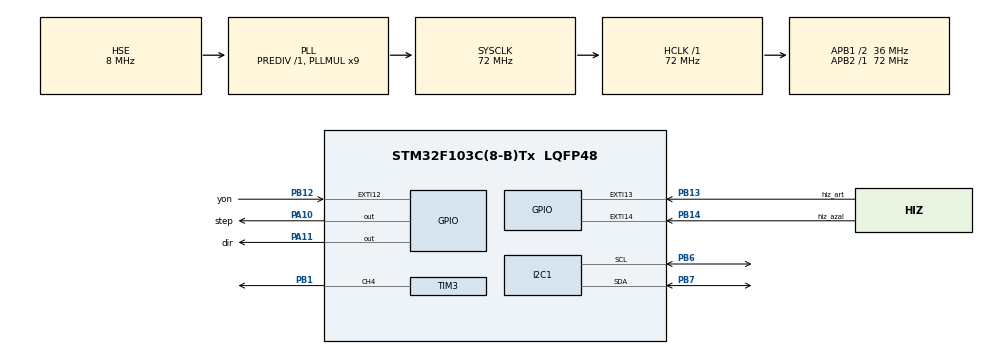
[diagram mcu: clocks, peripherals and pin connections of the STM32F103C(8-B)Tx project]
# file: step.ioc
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I2C1.I2C_Mode=I2C_Fast
Mcu.Family=STM32F1
Mcu.Name=STM32F103C(8-B)Tx
Mcu.Package=LQFP48
NVIC.EXTI15_10_IRQn=true\:0\:0\:false\:false\:true\:true\:true
NVIC.PriorityGroup=NVIC_PRIORITYGROUP_4
PA10.GPIO_Label=step
PA10.Signal=GPIO_Output
PA11.GPIO_Label=dir
PA11.Signal=GPIO_Output
PA13.Mode=Serial_Wire
PA13.Signal=SYS_JTMS-SWDIO
PA14.Mode=Serial_Wire
PA14.Signal=SYS_JTCK-SWCLK
PB1.Signal=S_TIM3_CH4
PB12.GPIO_Label=yon
PB12.GPIO_ModeDefaultEXTI=GPIO_MODE_IT_FALLING
PB12.GPIO_PuPd=GPIO_PULLUP
PB12.Signal=GPXTI12
PB13.GPIO_Label=hiz_art
PB13.GPIO_ModeDefaultEXTI=GPIO_MODE_IT_FALLING
PB13.GPIO_PuPd=GPIO_PULLUP
PB13.Signal=GPXTI13
PB14.GPIO_Label=hiz_azal
PB14.GPIO_ModeDefaultEXTI=GPIO_MODE_IT_FALLING
PB14.GPIO_PuPd=GPIO_PULLUP
PB14.Signal=GPXTI14
PB6.Mode=I2C
PB6.Signal=I2C1_SCL
PB7.Mode=I2C
PB7.Signal=I2C1_SDA
PD0-OSC_IN.Mode=HSE-External-Oscillator
PD0-OSC_IN.Signal=RCC_OSC_IN
PD1-OSC_OUT.Mode=HSE-External-Oscillator
PD1-OSC_OUT.Signal=RCC_OSC_OUT
ProjectManager.HeapSize=0x200
ProjectManager.StackSize=0x400
ProjectManager.TargetToolchain=MDK-ARM V5
RCC.AHBFreq_Value=72000000
RCC.APB1CLKDivider=RCC_HCLK_DIV2
RCC.APB1Freq_Value=36000000
RCC.APB1TimFreq_Value=72000000
RCC.APB2Freq_Value=72000000
RCC.APB2TimFreq_Value=72000000
RCC.HCLKFreq_Value=72000000
RCC.PLLMUL=RCC_PLL_MUL9
RCC.PLLSourceVirtual=RCC_PLLSOURCE_HSE
RCC.SYSCLKFreq_VALUE=72000000
RCC.SYSCLKSource=RCC_SYSCLKSOURCE_PLLCLK
RCC.USBFreq_Value=72000000
SH.S_TIM3_CH4.0=TIM3_CH4,PWM Generation4 CH4
TIM3.Channel-PWM\ Generation4\ CH4=TIM_CHANNEL_4
TIM3.Period=25
TIM3.Prescaler=7200-1
VP_TIM3_VS_ClockSourceINT.Mode=Internal
board=custom

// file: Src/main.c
/* USER CODE BEGIN Header */
/**
  ******************************************************************************
  * @file           : main.c
  * @brief          : Main program body
  ******************************************************************************
  * @attention
  *
  * <h2><center>&copy; Copyright (c) 2019 STMicroelectronics.
  * All rights reserved.</center></h2>
  *
  * This software component is licensed by ST under BSD 3-Clause license,
  * the "License"; You may not use this file except in compliance with the
  * License. You may obtain a copy of the License at:
  *                        opensource.org/licenses/BSD-3-Clause
  *
  ******************************************************************************
  */
/* USER CODE END Header */

#include "main.h"
#include "ssd1306.h"
#include "i2c-lcd.h"
#include "string.h"

/* USER CODE BEGIN Includes */
#include "main.h"
#include "ssd1306.h"
#include "i2c-lcd.h"
#include "string.h"
/* USER CODE END Includes */

/* USER CODE BEGIN PTD */
uint8_t check;
int dirata=0;
char buffer[32];
int step_hiz=500;
float ibre;
uint8_t value = 0;
/* USER CODE END PTD */

I2C_HandleTypeDef hi2c1;

TIM_HandleTypeDef htim3;

void SystemClock_Config(void);
static void MX_GPIO_Init(void);
static void MX_I2C1_Init(void);
static void MX_TIM3_Init(void);

int main(void)
{

  /* MCU Configuration--------------------------------------------------------*/

  /* Reset of all peripherals, Initializes the Flash interface and the Systick. */
  HAL_Init();

  /* Configure the system clock */
  SystemClock_Config();

  /* Initialize all configured peripherals */
  MX_GPIO_Init();
  MX_I2C1_Init();
  MX_TIM3_Init();
  /* USER CODE BEGIN 2 */
	int i;

	lcd_init ();
	check = SSD1306_Init ();
	SSD1306_Fill (0);
	SSD1306_UpdateScreen(); //display
  /* USER CODE END 2 */
HAL_TIM_PWM_Start(&htim3, TIM_CHANNEL_4);
  /* Infinite loop */
  while (1)
  {

SSD1306_Fill (0);
       		HAL_GPIO_TogglePin(GPIOA,step_Pin);
		HAL_Delay(step_hiz);

		dirata=HAL_GPIO_ReadPin(GPIOA,dir_Pin);
switch (dirata)
    {
    	case 0:

	SSD1306_GotoXY (1,11);
	SSD1306_Puts ("Motor Yonu<==Sol", &Font_7x10, 1);

    		break;
    	case 1:

	SSD1306_GotoXY (1,11);
	SSD1306_Puts ("Motor Yonu==>Sag", &Font_7x10, 1);

    		break;
    	default:
    		break;
    }

		htim3.Instance->CCR4 = value;

			value=0;
	SSD1306_DrawRectangle(10,24,101,31,1);
 SSD1306_DrawFilledRectangle(10,24,ibre,30,1);
	SSD1306_GotoXY (45,35);
	SSD1306_Puts ("HIZ", &Font_11x18, 1);
  SSD1306_UpdateScreen();
  }
}

void SystemClock_Config(void)
{
  RCC_OscInitTypeDef RCC_OscInitStruct = {0};
  RCC_ClkInitTypeDef RCC_ClkInitStruct = {0};

  /** Initializes the CPU, AHB and APB busses clocks
  */
  RCC_OscInitStruct.OscillatorType = RCC_OSCILLATORTYPE_HSE;
  RCC_OscInitStruct.HSEState = RCC_HSE_ON;
  RCC_OscInitStruct.HSEPredivValue = RCC_HSE_PREDIV_DIV1;
  RCC_OscInitStruct.HSIState = RCC_HSI_ON;
  RCC_OscInitStruct.PLL.PLLState = RCC_PLL_ON;
  RCC_OscInitStruct.PLL.PLLSource = RCC_PLLSOURCE_HSE;
  RCC_OscInitStruct.PLL.PLLMUL = RCC_PLL_MUL9;
  if (HAL_RCC_OscConfig(&RCC_OscInitStruct) != HAL_OK)
  {
    Error_Handler();
  }
  /** Initializes the CPU, AHB and APB busses clocks
  */
  RCC_ClkInitStruct.ClockType = RCC_CLOCKTYPE_HCLK|RCC_CLOCKTYPE_SYSCLK
                              |RCC_CLOCKTYPE_PCLK1|RCC_CLOCKTYPE_PCLK2;
  RCC_ClkInitStruct.SYSCLKSource = RCC_SYSCLKSOURCE_PLLCLK;
  RCC_ClkInitStruct.AHBCLKDivider = RCC_SYSCLK_DIV1;
  RCC_ClkInitStruct.APB1CLKDivider = RCC_HCLK_DIV2;
  RCC_ClkInitStruct.APB2CLKDivider = RCC_HCLK_DIV1;

  if (HAL_RCC_ClockConfig(&RCC_ClkInitStruct, FLASH_LATENCY_2) != HAL_OK)
  {
    Error_Handler();
  }
}

static void MX_I2C1_Init(void)
{

  hi2c1.Instance = I2C1;
  hi2c1.Init.ClockSpeed = 400000;
  hi2c1.Init.DutyCycle = I2C_DUTYCYCLE_2;
  hi2c1.Init.OwnAddress1 = 0;
  hi2c1.Init.AddressingMode = I2C_ADDRESSINGMODE_7BIT;
  hi2c1.Init.DualAddressMode = I2C_DUALADDRESS_DISABLE;
  hi2c1.Init.OwnAddress2 = 0;
  hi2c1.Init.GeneralCallMode = I2C_GENERALCALL_DISABLE;
  hi2c1.Init.NoStretchMode = I2C_NOSTRETCH_DISABLE;
  if (HAL_I2C_Init(&hi2c1) != HAL_OK)
  {
    Error_Handler();
  }

}

static void MX_TIM3_Init(void)
{

  TIM_ClockConfigTypeDef sClockSourceConfig = {0};
  TIM_MasterConfigTypeDef sMasterConfig = {0};
  TIM_OC_InitTypeDef sConfigOC = {0};

  htim3.Instance = TIM3;
  htim3.Init.Prescaler = 1200-1;
  htim3.Init.CounterMode = TIM_COUNTERMODE_UP;
  htim3.Init.Period = 25-1;
  htim3.Init.ClockDivision = TIM_CLOCKDIVISION_DIV1;
  htim3.Init.AutoReloadPreload = TIM_AUTORELOAD_PRELOAD_DISABLE;
  if (HAL_TIM_Base_Init(&htim3) != HAL_OK)
  {
    Error_Handler();
  }
  sClockSourceConfig.ClockSource = TIM_CLOCKSOURCE_INTERNAL;
  if (HAL_TIM_ConfigClockSource(&htim3, &sClockSourceConfig) != HAL_OK)
  {
    Error_Handler();
  }
  if (HAL_TIM_PWM_Init(&htim3) != HAL_OK)
  {
    Error_Handler();
  }
  sMasterConfig.MasterOutputTrigger = TIM_TRGO_RESET;
  sMasterConfig.MasterSlaveMode = TIM_MASTERSLAVEMODE_DISABLE;
  if (HAL_TIMEx_MasterConfigSynchronization(&htim3, &sMasterConfig) != HAL_OK)
  {
    Error_Handler();
  }
  sConfigOC.OCMode = TIM_OCMODE_PWM1;
  sConfigOC.Pulse = 0;
  sConfigOC.OCPolarity = TIM_OCPOLARITY_HIGH;
  sConfigOC.OCFastMode = TIM_OCFAST_DISABLE;
  if (HAL_TIM_PWM_ConfigChannel(&htim3, &sConfigOC, TIM_CHANNEL_4) != HAL_OK)
  {
    Error_Handler();
  }
  HAL_TIM_MspPostInit(&htim3);

}

static void MX_GPIO_Init(void)
{
  GPIO_InitTypeDef GPIO_InitStruct = {0};

  /* GPIO Ports Clock Enable */
  __HAL_RCC_GPIOD_CLK_ENABLE();
  __HAL_RCC_GPIOB_CLK_ENABLE();
  __HAL_RCC_GPIOA_CLK_ENABLE();

  /*Configure GPIO pin Output Level */
  HAL_GPIO_WritePin(GPIOA, step_Pin|dir_Pin, GPIO_PIN_RESET);

  /*Configure GPIO pins : yon_Pin hiz_art_Pin hiz_azal_Pin */
  GPIO_InitStruct.Pin = yon_Pin|hiz_art_Pin|hiz_azal_Pin;
  GPIO_InitStruct.Mode = GPIO_MODE_IT_FALLING;
  GPIO_InitStruct.Pull = GPIO_PULLUP;
  HAL_GPIO_Init(GPIOB, &GPIO_InitStruct);

  /*Configure GPIO pins : step_Pin dir_Pin */
  GPIO_InitStruct.Pin = step_Pin|dir_Pin;
  GPIO_InitStruct.Mode = GPIO_MODE_OUTPUT_PP;
  GPIO_InitStruct.Pull = GPIO_NOPULL;
  GPIO_InitStruct.Speed = GPIO_SPEED_FREQ_LOW;
  HAL_GPIO_Init(GPIOA, &GPIO_InitStruct);

  /* EXTI interrupt init*/
  HAL_NVIC_SetPriority(EXTI15_10_IRQn, 0, 0);
  HAL_NVIC_EnableIRQ(EXTI15_10_IRQn);

}

/* USER CODE BEGIN 4 */
void HAL_GPIO_EXTI_Callback(uint16_t GPIO_PIN){
	/* hiz artir */
	if(GPIO_PIN == hiz_art_Pin){
	  value=0x10;
		step_hiz-=10;
		if(step_hiz<1){step_hiz=1;}
		ibre+=2.2;
		if(ibre>100){ibre=100;}
		}			else{__NOP();

		}
		NVIC_ClearPendingIRQ(EXTI15_10_IRQn);

	if(GPIO_PIN == hiz_azal_Pin){
		value=0x10;
		step_hiz+=10;
		if(step_hiz>500){step_hiz=500;}
		ibre-=2.2;
		if(ibre<1){ibre=1;}

	}			else{__NOP();}
		NVIC_ClearPendingIRQ(EXTI15_10_IRQn);

		if(GPIO_PIN == yon_Pin){
			value=0x06;
		 HAL_GPIO_TogglePin(GPIOA,dir_Pin);
			dirata=dir_Pin;
		}
			else{__NOP();}
		NVIC_ClearPendingIRQ(EXTI15_10_IRQn);

}
/* USER CODE END 4 */

void Error_Handler(void)
{
}

/************************ (C) COPYRIGHT STMicroelectronics *****END OF FILE****/
